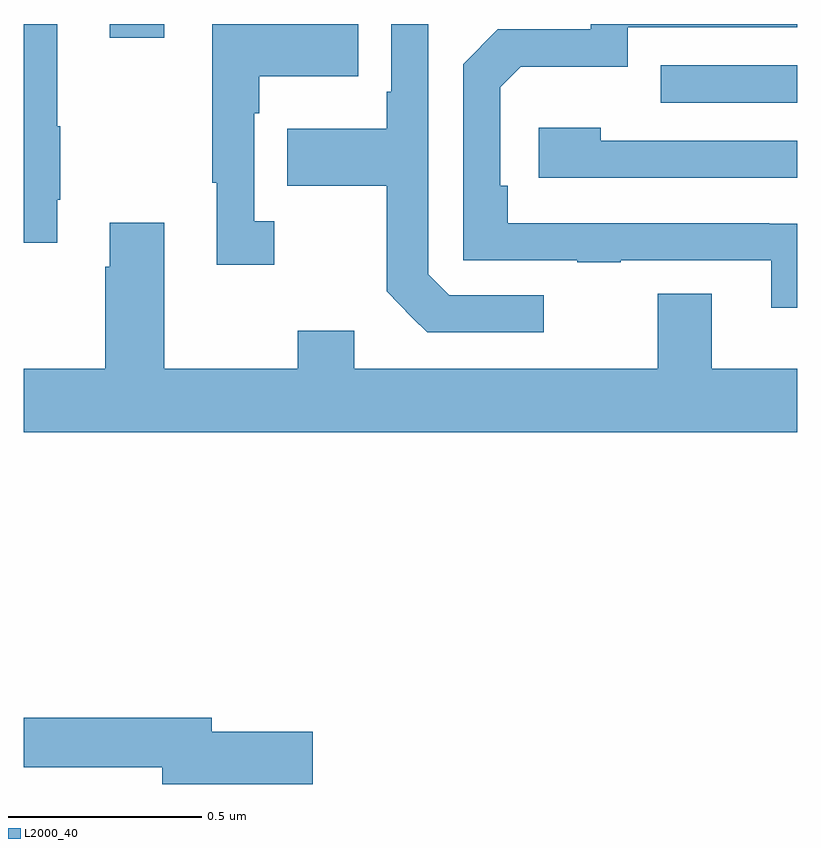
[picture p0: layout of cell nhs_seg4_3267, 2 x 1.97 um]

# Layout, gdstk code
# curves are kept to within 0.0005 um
import gdstk
lib = gdstk.Library(unit=1e-6, precision=1e-09)
def R(c, l, rs):  # rectangles x0, y0, x1, y1
    for r in rs: c.add(gdstk.rectangle(r[:2], r[2:], *l))
def P(c, l, *ps):  # polygons
    for p in ps: c.add(gdstk.Polygon(p, *l))
L2000_40 = (2000, 40)

nhs_seg4_3267 = lib.new_cell('nhs_seg4_3267')
R(nhs_seg4_3267, L2000_40, [(152.647,773.697,153,773.793), (151.223,773.865,151.363,773.9)])
P(nhs_seg4_3267, L2000_40, [(152.344,773.199),(152.1,773.199),(152.046,773.253),(152.046,773.9),(151.95,773.9),(151.95,773.725),(151.938,773.725),(151.938,773.629),(151.681,773.629),(151.681,773.482),(151.938,773.482),(151.938,773.209),(152.043,773.103),(152.344,773.103)],
  [(153,773.384),(152.927,773.384),(152.927,773.385),(152.252,773.385),(152.252,773.482),(152.232,773.482),(152.232,773.736),(152.285,773.789),(152.562,773.789),(152.562,773.892),(153,773.892),(153,773.9),(152.466,773.9),(152.466,773.886),(152.226,773.886),(152.136,773.796),(152.136,773.289),(152.431,773.289),(152.431,773.284),(152.543,773.284),(152.543,773.289),(152.933,773.289),(152.933,773.166),(153,773.166)],
  [(151.087,773.446),(151.095,773.446),(151.095,773.635),(151.087,773.635),(151.087,773.9),(151,773.9),(151,773.334),(151.087,773.334)],
  [(151.648,773.39),(151.596,773.39),(151.596,773.669),(151.609,773.669),(151.609,773.765),(151.865,773.765),(151.865,773.9),(151.488,773.9),(151.488,773.489),(151.499,773.489),(151.499,773.277),(151.648,773.277)],
  [(153,773.598),(152.492,773.598),(152.492,773.632),(152.331,773.632),(152.331,773.502),(153,773.502)],
  [(153,773.008),(152.779,773.008),(152.779,773.203),(152.639,773.203),(152.639,773.008),(151.855,773.008),(151.855,773.107),(151.708,773.107),(151.708,773.008),(151.363,773.008),(151.363,773.386),(151.223,773.386),(151.223,773.273),(151.211,773.273),(151.211,773.008),(151,773.008),(151,772.844),(153,772.844)],
  [(151.747,772.07),(151.486,772.07),(151.486,772.106),(151,772.106),(151,771.978),(151.358,771.978),(151.358,771.935),(151.747,771.935)])

lib.write_gds('nhs_seg4_3267.gds')
